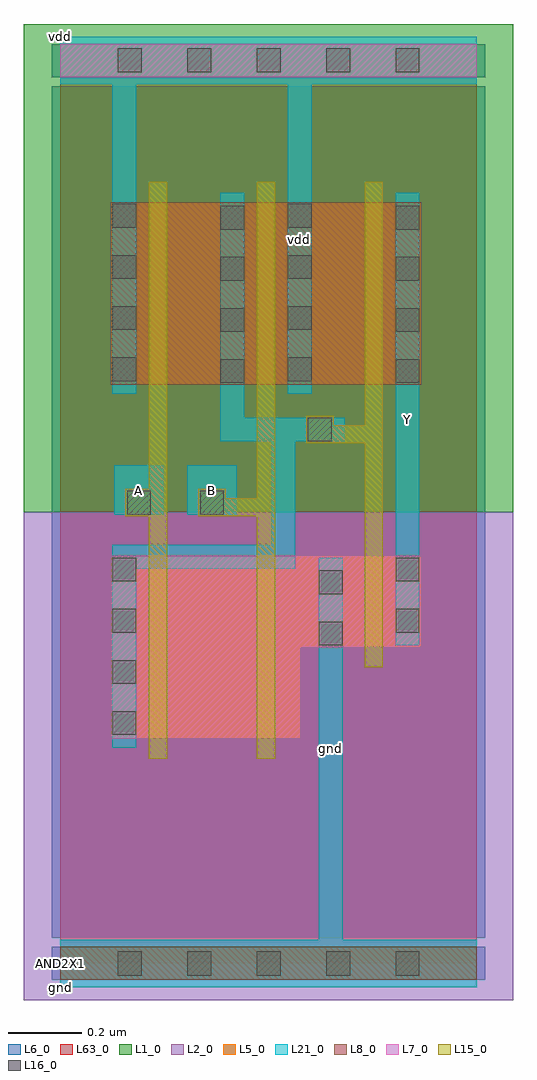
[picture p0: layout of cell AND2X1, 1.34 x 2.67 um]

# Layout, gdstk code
import gdstk
lib = gdstk.Library(unit=1e-6, precision=1e-09)
def R(c, l, rs):  # rectangles x0, y0, x1, y1
    for r in rs: c.add(gdstk.rectangle(r[:2], r[2:], *l))
def A(c, l, x, y, w, h, nx, ny, dx, dy):  # array of equal rectangles
    R(c, l, [(x+i*dx, y+j*dy, x+i*dx+w, y+j*dy+h) for i in range(nx) for j in range(ny)])
def P(c, l, *ps):  # polygons
    for p in ps: c.add(gdstk.Polygon(p, *l))
L1_0 = (1, 0)
L2_0 = (2, 0)
L5_0 = (5, 0)
L6_0 = (6, 0)
L7_0 = (7, 0)
L8_0 = (8, 0)
L15_0 = (15, 0)
L16_0 = (16, 0)
L21_0 = (21, 0)
L63_0 = (63, 0)

and2x1 = lib.new_cell('AND2X1')
R(and2x1, L1_0, [(-0.1,1.235,1.24,2.57)])
R(and2x1, L2_0, [(-0.1,-0.1,1.24,1.235)])
A(and2x1, L5_0, 0.243, 1.583, 0.05, 0.5, 3, 1, 0.295, 0)
R(and2x1, L5_0, [(0,-0.045,1.14,0.045), (0.138,0.615,0.243,1.115), (0.243,0.615,0.293,1.115), (0.293,0.615,0.538,1.115), (0.538,0.615,0.588,1.115), (0.833,0.865,0.883,1.115), (0.883,0.865,0.988,1.115), (0.138,1.583,0.243,2.083), (0.293,1.583,0.538,2.083), (0.588,1.583,0.833,2.083), (0.883,1.583,0.988,2.083), (0,2.425,1.14,2.515)])
P(and2x1, L5_0, [(0.833,1.115),(0.833,0.865),(0.658,0.865),(0.658,0.615),(0.588,0.615),(0.588,1.115)])
R(and2x1, L6_0, [(-0.023,-0.045,1.163,0.045), (-0.023,-0.045,1.163,0.045), (-0.023,0.07,1.163,1.235), (-0.023,1.235,1.163,2.4), (-0.023,2.425,1.163,2.515), (-0.023,2.425,1.163,2.515)])
R(and2x1, L7_0, [(0.138,0.615,0.243,1.115), (0.243,0.615,0.293,1.115), (0.293,0.615,0.538,1.115), (0.538,0.615,0.588,1.115), (0.833,0.865,0.883,1.115), (0.883,0.865,0.988,1.115), (0,2.425,1.14,2.515)])
P(and2x1, L7_0, [(0.833,1.115),(0.833,0.865),(0.658,0.865),(0.658,0.615),(0.588,0.615),(0.588,1.115)])
A(and2x1, L8_0, 0.243, 1.583, 0.05, 0.5, 3, 1, 0.295, 0)
R(and2x1, L8_0, [(0,-0.045,1.14,0.045), (0.138,1.583,0.243,2.083), (0.293,1.583,0.538,2.083), (0.588,1.583,0.833,2.083), (0.883,1.583,0.988,2.083)])
A(and2x1, L15_0, 0.243, 1.583, 0.05, 0.5, 3, 1, 0.295, 0)
A(and2x1, L15_0, 0.243, 2.083, 0.05, 0.055, 3, 1, 0.295, 0)
R(and2x1, L15_0, [(0.243,0.56,0.293,0.615), (0.538,0.56,0.588,0.615), (0.243,0.615,0.293,1.115), (0.538,0.615,0.588,1.115), (0.833,0.81,0.883,0.865), (0.833,0.865,0.883,1.115)])
P(and2x1, L15_0, [(0.243,1.223),(0.178,1.223),(0.178,1.298),(0.243,1.298),(0.243,1.583),(0.293,1.583),(0.293,1.115),(0.243,1.115)],
  [(0.538,1.223),(0.378,1.223),(0.378,1.298),(0.453,1.298),(0.453,1.273),(0.538,1.273),(0.538,1.583),(0.588,1.583),(0.588,1.115),(0.538,1.115)],
  [(0.833,1.423),(0.673,1.423),(0.673,1.498),(0.748,1.498),(0.748,1.473),(0.833,1.473),(0.833,1.583),(0.883,1.583),(0.883,1.115),(0.833,1.115)])
A(and2x1, L16_0, 0.158, -0.033, 0.065, 0.066, 5, 1, 0.19, 0)
A(and2x1, L16_0, 0.143, 0.625, 0.065, 0.065, 1, 4, 0, 0.14)
A(and2x1, L16_0, 0.438, 1.588, 0.065, 0.065, 1, 3, 0, 0.14)
A(and2x1, L16_0, 0.918, 1.588, 0.065, 0.065, 1, 3, 0, 0.14)
A(and2x1, L16_0, 0.143, 1.593, 0.065, 0.065, 1, 4, 0, 0.14)
A(and2x1, L16_0, 0.623, 1.593, 0.065, 0.065, 1, 4, 0, 0.14)
A(and2x1, L16_0, 0.158, 2.438, 0.065, 0.065, 5, 1, 0.19, 0)
R(and2x1, L16_0, [(0.708,0.87,0.773,0.935), (0.918,0.905,0.983,0.97), (0.708,1.01,0.773,1.075), (0.918,1.045,0.983,1.11), (0.183,1.228,0.248,1.293), (0.383,1.228,0.448,1.293), (0.678,1.428,0.743,1.493), (0.438,2.007,0.503,2.073), (0.918,2.007,0.983,2.073)])
R(and2x1, L21_0, [(0.918,0.87,0.983,2.108), (0.148,1.228,0.283,1.363), (0.348,1.228,0.483,1.363)])
P(and2x1, L21_0, [(0,2.405),(0,2.535),(1.14,2.535),(1.14,2.405),(0.688,2.405),(0.688,1.558),(0.623,1.558),(0.623,2.405),(0.208,2.405),(0.208,1.558),(0.143,1.558),(0.143,2.405)],
  [(0,-0.065),(0,0.065),(0.708,0.065),(0.708,1.11),(0.773,1.11),(0.773,0.065),(1.14,0.065),(1.14,-0.065)],
  [(0.503,1.493),(0.778,1.493),(0.778,1.428),(0.643,1.428),(0.643,1.08),(0.208,1.08),(0.208,0.59),(0.143,0.59),(0.143,1.145),(0.578,1.145),(0.578,1.428),(0.438,1.428),(0.438,2.108),(0.503,2.108)])
R(and2x1, L63_0, [(0,0,1.14,2.47)])
and2x1.add(gdstk.Label('vdd', (0.655,1.981), layer=21, texttype=1))
and2x1.add(gdstk.Label('gnd', (0.74,0.588), layer=21, texttype=1))
and2x1.add(gdstk.Label('A', (0.215,1.295), layer=21, texttype=1))
and2x1.add(gdstk.Label('B', (0.415,1.295), layer=21, texttype=1))
and2x1.add(gdstk.Label('Y', (0.95,1.489), layer=21, texttype=1))
and2x1.add(gdstk.Label('vdd', (0,2.535), layer=21, texttype=2))
and2x1.add(gdstk.Label('gnd', (0,-0.065), layer=21, texttype=2))
and2x1.add(gdstk.Label('AND2X1', (0,0), layer=63, texttype=1))

lib.write_gds('AND2X1.gds')
